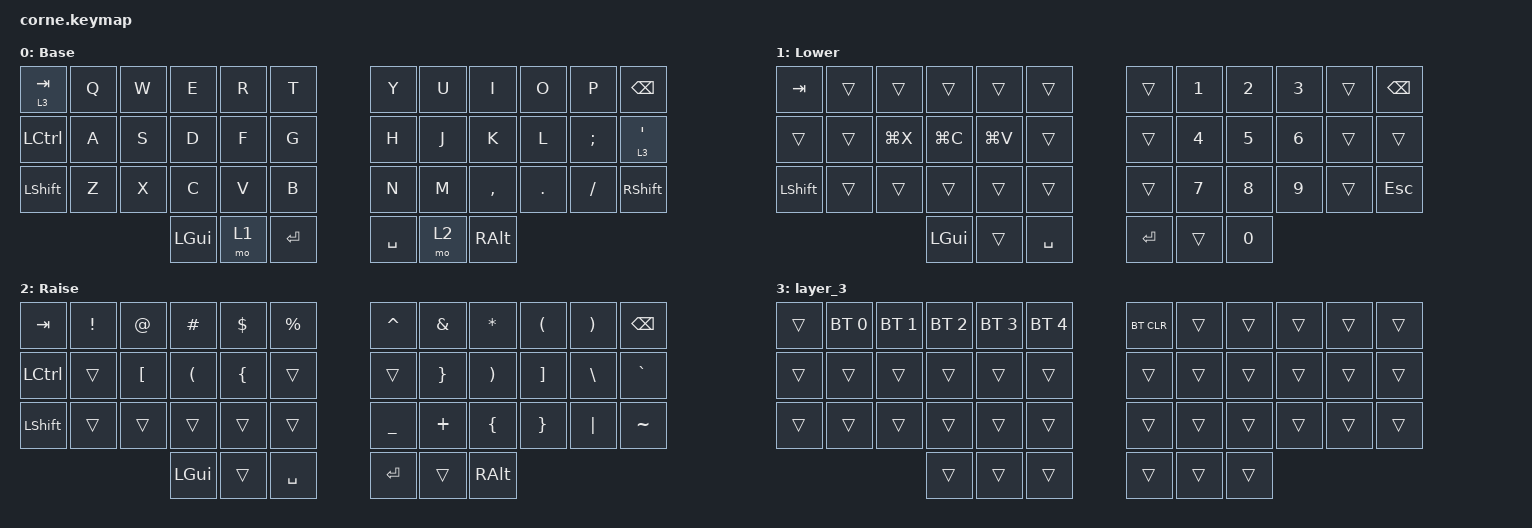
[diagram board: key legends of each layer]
/*
 * Copyright (c) 2020 The ZMK Contributors
 *
 * SPDX-License-Identifier: MIT
 */

#include <behaviors.dtsi>
#include <dt-bindings/zmk/bt.h>
#include <dt-bindings/zmk/keys.h>

/ {
    combos {
        compatible = "zmk,combos";

        tmux {
            bindings = <&kp LC(B)>;
            key-positions = <31 32>;
        };
    };

    keymap {
        compatible = "zmk,keymap";

        default_layer {
            // -----------------------------------------------------------------------------------------
            // |  TAB |  Q  |  W  |  E  |  R  |  T  |   |  Y  |  U   |  I  |  O  |  P  | BKSP |
            // | CTRL |  A  |  S  |  D  |  F  |  G  |   |  H  |  J   |  K  |  L  |  ;  |  '   |
            // | SHFT |  Z  |  X  |  C  |  V  |  B  |   |  N  |  M   |  ,  |  .  |  /  | ESC  |
            //                    | GUI | LWR | SPC |   | ENT | RSE  | ALT |

            display-name = "Base";
            bindings = <
&lt 3 TAB  &kp Q  &kp W  &kp E     &kp R  &kp T        &kp Y      &kp U  &kp I      &kp O    &kp P     &kp BSPC
&kp LCTRL  &kp A  &kp S  &kp D     &kp F  &kp G        &kp H      &kp J  &kp K      &kp L    &kp SEMI  &lt 3 SQT
&kp LSHFT  &kp Z  &kp X  &kp C     &kp V  &kp B        &kp N      &kp M  &kp COMMA  &kp DOT  &kp FSLH  &kp RIGHT_SHIFT
                         &kp LGUI  &mo 1  &kp ENTER    &kp SPACE  &mo 2  &kp RALT
            >;
        };

        lower_layer {
            // -----------------------------------------------------------------------------------------
            // |  TAB |  1  |  2  |  3  |  4  |  5  |   |  6  |  7  |  8  |  9  |  0  | BKSP |
            // | BTCLR| BT1 | BT2 | BT3 | BT4 | BT5 |   | LFT | DWN |  UP | RGT |     |      |
            // | SHFT |     |     |     |     |     |   |     |     |     |     |     |      |
            //                    | GUI |     | SPC |   | ENT |     | ALT |

            display-name = "Lower";
            bindings = <
&kp TAB    &trans  &trans     &trans     &trans     &trans       &trans   &kp N1  &kp N2  &kp N3  &trans  &kp BSPC
&trans     &trans  &kp LG(X)  &kp LG(C)  &kp LG(V)  &trans       &trans   &kp N4  &kp N5  &kp N6  &trans  &trans
&kp LSHFT  &trans  &trans     &trans     &trans     &trans       &trans   &kp N7  &kp N8  &kp N9  &trans  &kp ESC
                              &kp LGUI   &trans     &kp SPACE    &kp RET  &trans  &kp N0
            >;
        };

        raise_layer {
            // -----------------------------------------------------------------------------------------
            // |  TAB |  !  |  @  |  #  |  $  |  %  |   |  ^  |  &  |  *  |  (  |  )  | BKSP |
            // | CTRL |     |     |     |     |     |   |  -  |  =  |  [  |  ]  |  \  |  `   |
            // | SHFT |     |     |     |     |     |   |  _  |  +  |  {  |  }  | "|" |  ~   |
            //                    | GUI |     | SPC |   | ENT |     | ALT |

            display-name = "Raise";
            bindings = <
&kp TAB    &kp EXCL  &kp AT    &kp HASH              &kp DLLR        &kp PRCNT    &kp CARET  &kp AMPS         &kp ASTERISK           &kp LPAR  &kp RPAR  &kp BSPC
&kp LCTRL  &trans    &kp LBKT  &kp LEFT_PARENTHESIS  &kp LEFT_BRACE  &trans       &trans     &kp RIGHT_BRACE  &kp RIGHT_PARENTHESIS  &kp RBKT  &kp BSLH  &kp GRAVE
&kp LSHFT  &trans    &trans    &trans                &trans          &trans       &kp UNDER  &kp PLUS         &kp LBRC               &kp RBRC  &kp PIPE  &kp TILDE
                               &kp LGUI              &trans          &kp SPACE    &kp RET    &trans           &kp RALT
            >;
        };

        layer_3 {
            bindings = <
&trans  &bt BT_SEL 0  &bt BT_SEL 1  &bt BT_SEL 2  &bt BT_SEL 3  &bt BT_SEL 4    &bt BT_CLR  &trans  &trans  &trans  &trans  &trans
&trans  &trans        &trans        &trans        &trans        &trans          &trans      &trans  &trans  &trans  &trans  &trans
&trans  &trans        &trans        &trans        &trans        &trans          &trans      &trans  &trans  &trans  &trans  &trans
                                    &trans        &trans        &trans          &trans      &trans  &trans
            >;
        };
    };
};
